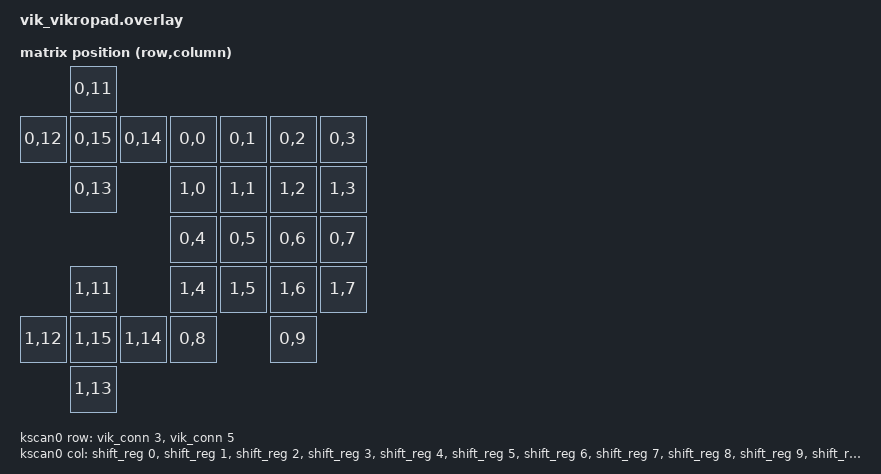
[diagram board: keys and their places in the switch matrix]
/*
 * Copyright (c) 2021 The ZMK Contributors
 *
 * SPDX-License-Identifier: MIT
 */

#include <dt-bindings/zmk/matrix_transform.h>

&vik_spi {
    status = "okay";
    cs-gpios = <&vik_conn 6 GPIO_ACTIVE_LOW>;

    shift_reg: 595@0 {
        compatible = "zmk,gpio-595";
        status = "okay";
        gpio-controller;
        spi-max-frequency = <200000>;
        reg = <0>;
        #gpio-cells = <2>;
        ngpios = <16>;
    };
};

/ {
    chosen {
        zmk,kscan = &kscan0;
        zmk,matrix_transform = &default_transform;
        // for logging, remove later
        zephyr,console = &cdc_acm_uart;
    };

    kscan0: kscan_0 {
        compatible = "zmk,kscan-gpio-matrix";
        diode-direction = "col2row";

        col-gpios
            = <&shift_reg 0 (GPIO_ACTIVE_HIGH)>
            , <&shift_reg 1 (GPIO_ACTIVE_HIGH)>
            , <&shift_reg 2 (GPIO_ACTIVE_HIGH)>
            , <&shift_reg 3 (GPIO_ACTIVE_HIGH)>
            , <&shift_reg 4 (GPIO_ACTIVE_HIGH)>
            , <&shift_reg 5 (GPIO_ACTIVE_HIGH)>
            , <&shift_reg 6 (GPIO_ACTIVE_HIGH)>
            , <&shift_reg 7 (GPIO_ACTIVE_HIGH)>
            , <&shift_reg 8 (GPIO_ACTIVE_HIGH)>
            , <&shift_reg 9 (GPIO_ACTIVE_HIGH)>
            , <&shift_reg 10 (GPIO_ACTIVE_HIGH)>
            , <&shift_reg 11 (GPIO_ACTIVE_HIGH)>
            , <&shift_reg 12 (GPIO_ACTIVE_HIGH)>
            , <&shift_reg 13 (GPIO_ACTIVE_HIGH)>
            , <&shift_reg 14 (GPIO_ACTIVE_HIGH)>
            , <&shift_reg 15 (GPIO_ACTIVE_HIGH)>
            ;

        row-gpios
            = <&vik_conn 3 (GPIO_ACTIVE_HIGH | GPIO_PULL_DOWN)> // row 0
            , <&vik_conn 5 (GPIO_ACTIVE_HIGH | GPIO_PULL_DOWN)> // row 1
            ;
    };

    default_transform: keymap_transform_0 {
        compatible = "zmk,matrix-transform";
        columns = <16>;
        rows = <2>;

        map = <
                      RC(0,11)
            RC(0,12)  RC(0,15)  RC(0,14)        RC(0,0) RC(0,1) RC(0,2) RC(0,3)
                      RC(0,13)                  RC(1,0) RC(1,1) RC(1,2) RC(1,3)
                                                RC(0,4) RC(0,5) RC(0,6) RC(0,7)
                      RC(1,11)                  RC(1,4) RC(1,5) RC(1,6) RC(1,7)
            RC(1,12)  RC(1,15)  RC(1,14)            RC(0,8)        RC(0,9)
                      RC(1,13)
        >;
    };
};

// for logging, remove later
&usbd {
    status = "okay";
    cdc_acm_uart: cdc_acm_uart {
        compatible = "zephyr,cdc-acm-uart";
    };
};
